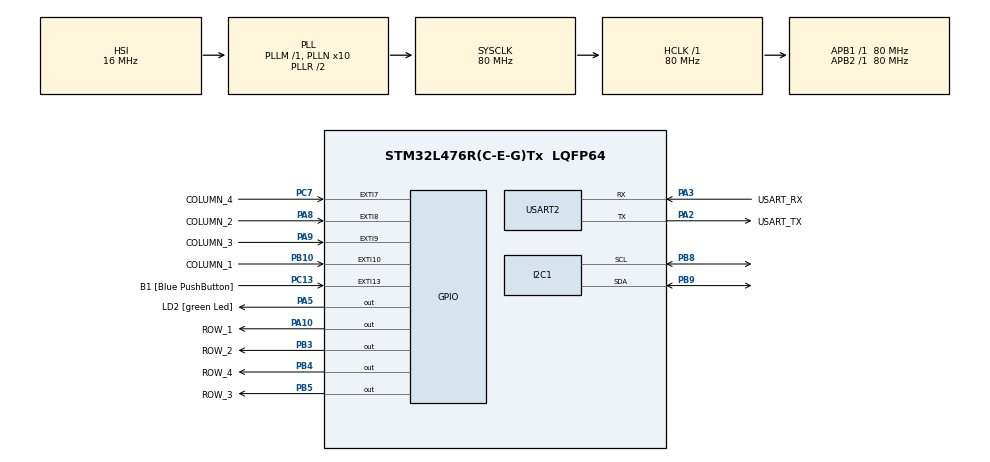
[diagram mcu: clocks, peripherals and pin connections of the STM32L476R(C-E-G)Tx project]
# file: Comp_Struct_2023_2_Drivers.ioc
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I2C1.Timing=0x10909CEC
Mcu.Family=STM32L4
Mcu.Name=STM32L476R(C-E-G)Tx
Mcu.Package=LQFP64
NVIC.EXTI15_10_IRQn=true\:0\:0\:false\:false\:true\:true\:true\:true
NVIC.EXTI9_5_IRQn=true\:0\:0\:false\:false\:true\:true\:true\:true
NVIC.PriorityGroup=NVIC_PRIORITYGROUP_4
NVIC.USART2_IRQn=true\:0\:0\:false\:false\:true\:true\:true\:true
PA10.GPIO_Label=ROW_1
PA10.Signal=GPIO_Output
PA13\ (JTMS-SWDIO).GPIO_Label=TMS
PA13\ (JTMS-SWDIO).Mode=Serial_Wire
PA13\ (JTMS-SWDIO).Signal=SYS_JTMS-SWDIO
PA14\ (JTCK-SWCLK).GPIO_Label=TCK
PA14\ (JTCK-SWCLK).Mode=Serial_Wire
PA14\ (JTCK-SWCLK).Signal=SYS_JTCK-SWCLK
PA2.GPIO_Label=USART_TX
PA2.GPIO_Mode=GPIO_MODE_AF_PP
PA2.GPIO_PuPd=GPIO_NOPULL
PA2.GPIO_Speed=GPIO_SPEED_FREQ_VERY_HIGH
PA2.Mode=Asynchronous
PA2.Signal=USART2_TX
PA3.GPIO_Label=USART_RX
PA3.GPIO_Mode=GPIO_MODE_AF_PP
PA3.GPIO_PuPd=GPIO_NOPULL
PA3.GPIO_Speed=GPIO_SPEED_FREQ_VERY_HIGH
PA3.Mode=Asynchronous
PA3.Signal=USART2_RX
PA5.GPIO_Label=LD2 [green Led]
PA5.GPIO_ModeDefaultOutputPP=GPIO_MODE_OUTPUT_PP
PA5.GPIO_PuPd=GPIO_NOPULL
PA5.GPIO_Speed=GPIO_SPEED_FREQ_LOW
PA5.Signal=GPIO_Output
PA8.GPIO_Label=COLUMN_2
PA8.GPIO_PuPd=GPIO_PULLDOWN
PA8.Signal=GPXTI8
PA9.GPIO_Label=COLUMN_3
PA9.GPIO_PuPd=GPIO_PULLDOWN
PA9.Signal=GPXTI9
PB10.GPIO_Label=COLUMN_1
PB10.GPIO_PuPd=GPIO_PULLDOWN
PB10.Signal=GPXTI10
PB3\ (JTDO-TRACESWO).GPIO_Label=ROW_2
PB3\ (JTDO-TRACESWO).Signal=GPIO_Output
PB4\ (NJTRST).GPIO_Label=ROW_4
PB4\ (NJTRST).Signal=GPIO_Output
PB5.GPIO_Label=ROW_3
PB5.Signal=GPIO_Output
PB8.Mode=I2C
PB8.Signal=I2C1_SCL
PB9.Mode=I2C
PB9.Signal=I2C1_SDA
PC13.GPIO_Label=B1 [Blue PushButton]
PC13.GPIO_ModeDefaultEXTI=GPIO_MODE_IT_FALLING
PC13.GPIO_PuPd=GPIO_NOPULL
PC13.Signal=GPXTI13
PC14-OSC32_IN\ (PC14).Mode=LSE-External-Oscillator
PC14-OSC32_IN\ (PC14).Signal=RCC_OSC32_IN
PC15-OSC32_OUT\ (PC15).Mode=LSE-External-Oscillator
PC15-OSC32_OUT\ (PC15).Signal=RCC_OSC32_OUT
PC7.GPIO_Label=COLUMN_4
PC7.GPIO_PuPd=GPIO_PULLDOWN
PC7.Signal=GPXTI7
PH0-OSC_IN\ (PH0).Signal=RCC_OSC_IN
PH1-OSC_OUT\ (PH1).Signal=RCC_OSC_OUT
ProjectManager.HeapSize=0x200
ProjectManager.StackSize=0x400
ProjectManager.TargetToolchain=STM32CubeIDE
RCC.ADCFreq_Value=64000000
RCC.AHBFreq_Value=80000000
RCC.APB1Freq_Value=80000000
RCC.APB1TimFreq_Value=80000000
RCC.APB2Freq_Value=80000000
RCC.APB2TimFreq_Value=80000000
RCC.CortexFreq_Value=80000000
RCC.HCLKFreq_Value=80000000
RCC.HSE_VALUE=8000000
RCC.HSI_VALUE=16000000
RCC.MSI_VALUE=4000000
RCC.PLLN=10
RCC.PLLSourceVirtual=RCC_PLLSOURCE_HSI
RCC.PREFETCH_ENABLE=1
RCC.SYSCLKFreq_VALUE=80000000
RCC.SYSCLKSource=RCC_SYSCLKSOURCE_PLLCLK
RCC.USBFreq_Value=64000000
RCC.VCOOutputFreq_Value=160000000
USART2.VirtualMode-Asynchronous=VM_ASYNC
board=NUCLEO-L476RG

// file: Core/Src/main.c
/* USER CODE BEGIN Header */
/**
  ******************************************************************************
  * @file           : main.c
  * @brief          : Main program body
  ******************************************************************************
  * @attention
  *
  * Copyright (c) 2023 STMicroelectronics.
  * All rights reserved.
  *
  * This software is licensed under terms that can be found in the LICENSE file
  * in the root directory of this software component.
  * If no LICENSE file comes with this software, it is provided AS-IS.
  *
  ******************************************************************************
  */
/* USER CODE END Header */
#include "main.h"

/* USER CODE BEGIN Includes */
#include "ring_buffer.h"
#include "keyboard.h"
#include "stdio.h"
#include "string.h"
#include "ssd1306.h"
#include "ssd1306_fonts.h"
/* USER CODE END Includes */

I2C_HandleTypeDef hi2c1;

UART_HandleTypeDef huart2;

/* USER CODE BEGIN PV */
uint16_t key_event = 0xFF;
uint8_t rx_buffer[16];
ring_buffer_t ring_buffer_uart_rx;
uint8_t rx_data;
/* USER CODE END PV */

void SystemClock_Config(void);
static void MX_GPIO_Init(void);
static void MX_USART2_UART_Init(void);
static void MX_I2C1_Init(void);

/* USER CODE BEGIN 0 */
void HAL_UART_RxCpltCallback(UART_HandleTypeDef *huart){
	ring_buffer_put(&ring_buffer_uart_rx, rx_data);
	HAL_UART_Receive_IT(&huart2, &rx_data,1);
}

int _write(int file, char *ptr, int len)
{
	HAL_UART_Transmit(&huart2, (uint8_t*)ptr, len, HAL_MAX_DELAY);
	return len;
}
void HAL_GPIO_EXTI_Callback(uint16_t GPIO_Pin)
{
	key_event=GPIO_Pin;
}

/* USER CODE END 0 */

int main(void)
{

  /* MCU Configuration--------------------------------------------------------*/

  /* Reset of all peripherals, Initializes the Flash interface and the Systick. */
  HAL_Init();

  /* Configure the system clock */
  SystemClock_Config();

  /* Initialize all configured peripherals */
  MX_GPIO_Init();
  MX_USART2_UART_Init();
  MX_I2C1_Init();
  /* USER CODE BEGIN 2 */

  //define the size of our buffer to 5 due to the sequence
  ring_buffer_init(&ring_buffer_uart_rx, rx_buffer, 5);
  keypad_init();  // Initialize the keypad functionality
  HAL_UART_Receive_IT(&huart2, &rx_data, 1);

  ssd1306_Init(); // Initialize the screen functionality
  ssd1306_Fill(Black); // Fill the background with Black Color
  ssd1306_SetCursor(20, 20); // Set cursor to 20,20 position
  ssd1306_WriteString("Hi!",  Font_16x26, White); // Write Hi! in the screen
  ssd1306_UpdateScreen(); //Update the screen
  /* USER CODE END 2 */

  /* Infinite loop */
  /* USER CODE BEGIN WHILE */

  while (1)
  {

	 if (key_event != 0xFF) { // check if there is a event from the EXTi callback
	  		  uint8_t key_pressed = keypad_handler(key_event); // call the keypad handler
	  		  if (key_pressed != 0xFF) { //check if it is not 0xFF this likely represents either no key press or an invalid key press
	  			  printf("Key pressed: %x\r\n", key_pressed); // print the key pressed
	  			  if (key_pressed == 0x0E){ //  reset the ring buffer
	  				  ring_buffer_reset(&ring_buffer_uart_rx);
	  			  }
	  			  else{
					  ring_buffer_put(&ring_buffer_uart_rx, key_pressed); // Store the key pressed
					  uint16_t size = ring_buffer_size(&ring_buffer_uart_rx);
					  if (size == 5){ // Check if the size of the buffer is equal to 5 so we can look at the sequence
						  uint8_t rx_data[size+1]; // rx_data is created here as a buffer to store a sequence of received data
						  memset(rx_data, 0, size + 1); // Initialize the buffer
						  for(uint16_t idx=0; idx < size; idx++){ // Iterate over the size of the buffer to store the values
						  			ring_buffer_get(&ring_buffer_uart_rx, &rx_data[idx]); // get the value from the ring buffer
						  		    printf("%02x", rx_data[idx]); // Print each byte in hexadecimal format
						  }
						  uint8_t birth_date[] = {0x02, 0x09, 0x09, 0x01, 0x0F}; // Birth date 29/09/2001 and the # symbol
						  if (memcmp(rx_data, birth_date, size) == 0){ // Check if keys pressed is correct
							ssd1306_SetCursor(20, 20);
							ssd1306_Fill(White);
							ssd1306_WriteString("Pass!",  Font_16x26, Black);
							ssd1306_UpdateScreen();
						  }
						  else{
							ssd1306_SetCursor(20, 20);
							ssd1306_Fill(White);
							ssd1306_WriteString("Fail!",  Font_16x26, Black);
							ssd1306_UpdateScreen();
						  }
					  }
	  			  }
	  		  }
	  		  key_event = 0xFF; // clean the event
	 }
    /* USER CODE END WHILE */

  }
}

void SystemClock_Config(void)
{
  RCC_OscInitTypeDef RCC_OscInitStruct = {0};
  RCC_ClkInitTypeDef RCC_ClkInitStruct = {0};

  /** Configure the main internal regulator output voltage
  */
  if (HAL_PWREx_ControlVoltageScaling(PWR_REGULATOR_VOLTAGE_SCALE1) != HAL_OK)
  {
    Error_Handler();
  }

  /** Initializes the RCC Oscillators according to the specified parameters
  * in the RCC_OscInitTypeDef structure.
  */
  RCC_OscInitStruct.OscillatorType = RCC_OSCILLATORTYPE_HSI;
  RCC_OscInitStruct.HSIState = RCC_HSI_ON;
  RCC_OscInitStruct.HSICalibrationValue = RCC_HSICALIBRATION_DEFAULT;
  RCC_OscInitStruct.PLL.PLLState = RCC_PLL_ON;
  RCC_OscInitStruct.PLL.PLLSource = RCC_PLLSOURCE_HSI;
  RCC_OscInitStruct.PLL.PLLM = 1;
  RCC_OscInitStruct.PLL.PLLN = 10;
  RCC_OscInitStruct.PLL.PLLP = RCC_PLLP_DIV7;
  RCC_OscInitStruct.PLL.PLLQ = RCC_PLLQ_DIV2;
  RCC_OscInitStruct.PLL.PLLR = RCC_PLLR_DIV2;
  if (HAL_RCC_OscConfig(&RCC_OscInitStruct) != HAL_OK)
  {
    Error_Handler();
  }

  /** Initializes the CPU, AHB and APB buses clocks
  */
  RCC_ClkInitStruct.ClockType = RCC_CLOCKTYPE_HCLK|RCC_CLOCKTYPE_SYSCLK
                              |RCC_CLOCKTYPE_PCLK1|RCC_CLOCKTYPE_PCLK2;
  RCC_ClkInitStruct.SYSCLKSource = RCC_SYSCLKSOURCE_PLLCLK;
  RCC_ClkInitStruct.AHBCLKDivider = RCC_SYSCLK_DIV1;
  RCC_ClkInitStruct.APB1CLKDivider = RCC_HCLK_DIV1;
  RCC_ClkInitStruct.APB2CLKDivider = RCC_HCLK_DIV1;

  if (HAL_RCC_ClockConfig(&RCC_ClkInitStruct, FLASH_LATENCY_4) != HAL_OK)
  {
    Error_Handler();
  }
}

static void MX_I2C1_Init(void)
{

  hi2c1.Instance = I2C1;
  hi2c1.Init.Timing = 0x10909CEC;
  hi2c1.Init.OwnAddress1 = 0;
  hi2c1.Init.AddressingMode = I2C_ADDRESSINGMODE_7BIT;
  hi2c1.Init.DualAddressMode = I2C_DUALADDRESS_DISABLE;
  hi2c1.Init.OwnAddress2 = 0;
  hi2c1.Init.OwnAddress2Masks = I2C_OA2_NOMASK;
  hi2c1.Init.GeneralCallMode = I2C_GENERALCALL_DISABLE;
  hi2c1.Init.NoStretchMode = I2C_NOSTRETCH_DISABLE;
  if (HAL_I2C_Init(&hi2c1) != HAL_OK)
  {
    Error_Handler();
  }

  /** Configure Analogue filter
  */
  if (HAL_I2CEx_ConfigAnalogFilter(&hi2c1, I2C_ANALOGFILTER_ENABLE) != HAL_OK)
  {
    Error_Handler();
  }

  /** Configure Digital filter
  */
  if (HAL_I2CEx_ConfigDigitalFilter(&hi2c1, 0) != HAL_OK)
  {
    Error_Handler();
  }

}

static void MX_USART2_UART_Init(void)
{

  huart2.Instance = USART2;
  huart2.Init.BaudRate = 115200;
  huart2.Init.WordLength = UART_WORDLENGTH_8B;
  huart2.Init.StopBits = UART_STOPBITS_1;
  huart2.Init.Parity = UART_PARITY_NONE;
  huart2.Init.Mode = UART_MODE_TX_RX;
  huart2.Init.HwFlowCtl = UART_HWCONTROL_NONE;
  huart2.Init.OverSampling = UART_OVERSAMPLING_16;
  huart2.Init.OneBitSampling = UART_ONE_BIT_SAMPLE_DISABLE;
  huart2.AdvancedInit.AdvFeatureInit = UART_ADVFEATURE_NO_INIT;
  if (HAL_UART_Init(&huart2) != HAL_OK)
  {
    Error_Handler();
  }

}

static void MX_GPIO_Init(void)
{
  GPIO_InitTypeDef GPIO_InitStruct = {0};

  /* GPIO Ports Clock Enable */
  __HAL_RCC_GPIOC_CLK_ENABLE();
  __HAL_RCC_GPIOH_CLK_ENABLE();
  __HAL_RCC_GPIOA_CLK_ENABLE();
  __HAL_RCC_GPIOB_CLK_ENABLE();

  /*Configure GPIO pin Output Level */
  HAL_GPIO_WritePin(GPIOA, LD2_Pin|ROW_1_Pin, GPIO_PIN_RESET);

  /*Configure GPIO pin Output Level */
  HAL_GPIO_WritePin(GPIOB, ROW_2_Pin|ROW_4_Pin|ROW_3_Pin, GPIO_PIN_RESET);

  /*Configure GPIO pin : B1_Pin */
  GPIO_InitStruct.Pin = B1_Pin;
  GPIO_InitStruct.Mode = GPIO_MODE_IT_FALLING;
  GPIO_InitStruct.Pull = GPIO_NOPULL;
  HAL_GPIO_Init(B1_GPIO_Port, &GPIO_InitStruct);

  /*Configure GPIO pins : LD2_Pin ROW_1_Pin */
  GPIO_InitStruct.Pin = LD2_Pin|ROW_1_Pin;
  GPIO_InitStruct.Mode = GPIO_MODE_OUTPUT_PP;
  GPIO_InitStruct.Pull = GPIO_NOPULL;
  GPIO_InitStruct.Speed = GPIO_SPEED_FREQ_LOW;
  HAL_GPIO_Init(GPIOA, &GPIO_InitStruct);

  /*Configure GPIO pin : COLUMN_1_Pin */
  GPIO_InitStruct.Pin = COLUMN_1_Pin;
  GPIO_InitStruct.Mode = GPIO_MODE_IT_RISING;
  GPIO_InitStruct.Pull = GPIO_PULLDOWN;
  HAL_GPIO_Init(COLUMN_1_GPIO_Port, &GPIO_InitStruct);

  /*Configure GPIO pin : COLUMN_4_Pin */
  GPIO_InitStruct.Pin = COLUMN_4_Pin;
  GPIO_InitStruct.Mode = GPIO_MODE_IT_RISING;
  GPIO_InitStruct.Pull = GPIO_PULLDOWN;
  HAL_GPIO_Init(COLUMN_4_GPIO_Port, &GPIO_InitStruct);

  /*Configure GPIO pins : COLUMN_2_Pin COLUMN_3_Pin */
  GPIO_InitStruct.Pin = COLUMN_2_Pin|COLUMN_3_Pin;
  GPIO_InitStruct.Mode = GPIO_MODE_IT_RISING;
  GPIO_InitStruct.Pull = GPIO_PULLDOWN;
  HAL_GPIO_Init(GPIOA, &GPIO_InitStruct);

  /*Configure GPIO pins : ROW_2_Pin ROW_4_Pin ROW_3_Pin */
  GPIO_InitStruct.Pin = ROW_2_Pin|ROW_4_Pin|ROW_3_Pin;
  GPIO_InitStruct.Mode = GPIO_MODE_OUTPUT_PP;
  GPIO_InitStruct.Pull = GPIO_NOPULL;
  GPIO_InitStruct.Speed = GPIO_SPEED_FREQ_LOW;
  HAL_GPIO_Init(GPIOB, &GPIO_InitStruct);

  /* EXTI interrupt init*/
  HAL_NVIC_SetPriority(EXTI9_5_IRQn, 0, 0);
  HAL_NVIC_EnableIRQ(EXTI9_5_IRQn);

  HAL_NVIC_SetPriority(EXTI15_10_IRQn, 0, 0);
  HAL_NVIC_EnableIRQ(EXTI15_10_IRQn);

}

void Error_Handler(void)
{
  __disable_irq();
  while (1)
  {
  }
}
